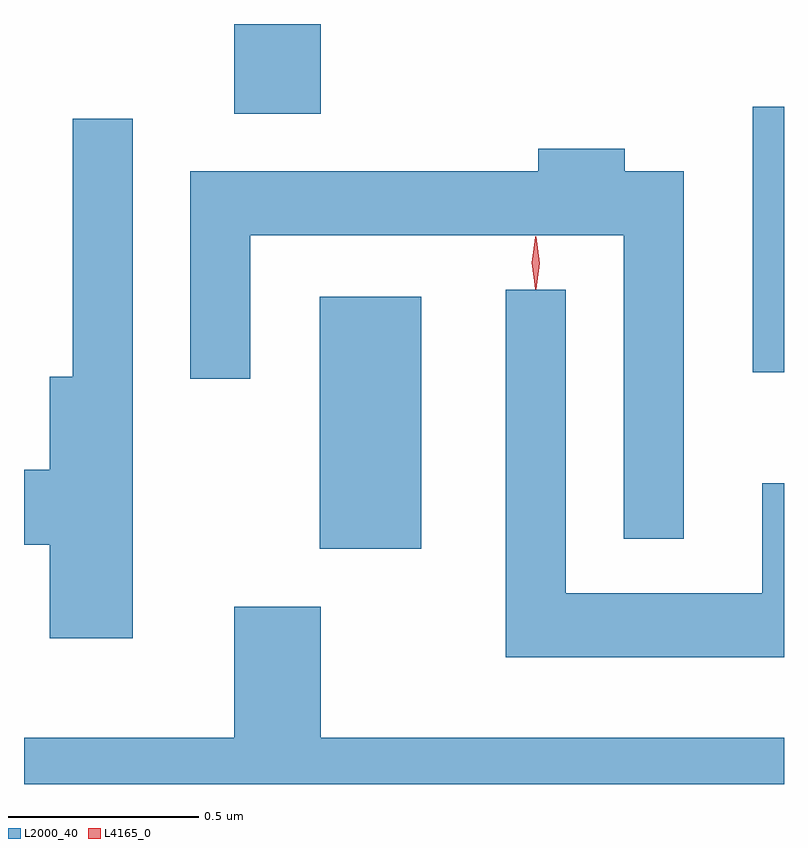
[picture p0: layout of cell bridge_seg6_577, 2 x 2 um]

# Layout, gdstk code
import gdstk
lib = gdstk.Library(unit=1e-6, precision=1e-09)
def R(c, l, rs):  # rectangles x0, y0, x1, y1
    for r in rs: c.add(gdstk.rectangle(r[:2], r[2:], *l))
def P(c, l, *ps):  # polygons
    for p in ps: c.add(gdstk.Polygon(p, *l))
L2000_40 = (2000, 40)
L4165_0 = (4165, 0)

bridge_seg6_577 = lib.new_cell('bridge_seg6_577')
R(bridge_seg6_577, L2000_40, [(483.886,1666.241,484.154,1666.904), (485.026,1666.706,485.108,1667.404), (483.661,1667.386,483.889,1667.622)])
P(bridge_seg6_577, L2000_40, [(483.394,1667.373),(483.236,1667.373),(483.236,1666.694),(483.176,1666.694),(483.176,1666.449),(483.108,1666.449),(483.108,1666.251),(483.176,1666.251),(483.176,1666.006),(483.394,1666.006)],
  [(484.844,1667.234),(484.689,1667.234),(484.689,1667.294),(484.461,1667.294),(484.461,1667.234),(483.546,1667.234),(483.546,1666.688),(483.704,1666.688),(483.704,1667.066),(484.686,1667.066),(484.686,1666.268),(484.844,1666.268)],
  [(485.108,1666.414),(485.051,1666.414),(485.051,1666.124),(484.534,1666.124),(484.534,1666.923),(484.376,1666.923),(484.376,1665.956),(485.108,1665.956)],
  [(485.108,1665.744),(483.889,1665.744),(483.889,1666.089),(483.661,1666.089),(483.661,1665.744),(483.108,1665.744),(483.108,1665.622),(485.108,1665.622)])
P(bridge_seg6_577, L4165_0, [(484.453,1666.927),(484.444,1666.994),(484.453,1667.06),(484.454,1667.06),(484.454,1667.06),(484.464,1666.994),(484.454,1666.927),(484.454,1666.927)],
  [(484.454,1666.924),(484.445,1666.993),(484.454,1667.062),(484.455,1667.063),(484.456,1667.062),(484.465,1666.993),(484.456,1666.924),(484.455,1666.924)])

lib.write_gds('bridge_seg6_577.gds')
